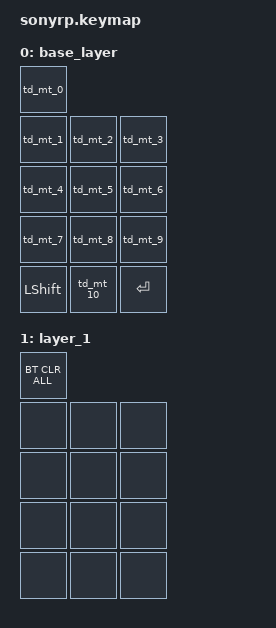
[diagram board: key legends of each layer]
#include <behaviors.dtsi>
#include <dt-bindings/zmk/keys.h>
#include <dt-bindings/zmk/bt.h>

/ {
behaviors {
        td_mt_0: tap_dance_mod_tap_0 {
            compatible = "zmk,behavior-tap-dance";
            #binding-cells = <0>;
            tapping-term-ms = <200>;
            bindings = <&mt BACKSPACE ESC>;
            };  

        td_mt_1: tap_dance_mod_tap_1 {
            compatible = "zmk,behavior-tap-dance";
            #binding-cells = <0>;
            tapping-term-ms = <200>;
            bindings = <&mt N1 N1>, <&mo 1>;
            };

        td_mt_2: tap_dance_mod_tap_2 {
            compatible = "zmk,behavior-tap-dance";
            #binding-cells = <0>;
            tapping-term-ms = <200>;
            bindings = <&mt N2 A>, <&kp B>, <&kp C>, <&kp N2>;
            };

        td_mt_3: tap_dance_mod_tap_3 {
            compatible = "zmk,behavior-tap-dance";
            #binding-cells = <0>;
            tapping-term-ms = <200>;
            bindings = <&mt N3 D>, <&kp E>, <&kp F>, <&kp N3>;
            };

        td_mt_4: tap_dance_mod_tap_4 {
            compatible = "zmk,behavior-tap-dance";
            #binding-cells = <0>;
            tapping-term-ms = <200>;
            bindings = <&mt N4 G>, <&kp H>, <&kp I>, <&kp N4>;
            };

        td_mt_5: tap_dance_mod_tap_5 {
            compatible = "zmk,behavior-tap-dance";
            #binding-cells = <0>;
            tapping-term-ms = <200>;
            bindings = <&mt N5 J>, <&kp K>, <&kp L>, <&kp N5>;
            };

        td_mt_6: tap_dance_mod_tap_6 {
            compatible = "zmk,behavior-tap-dance";
            #binding-cells = <0>;
            tapping-term-ms = <200>;
            bindings = <&mt N6 M>, <&kp N>, <&kp O>, <&kp N6>;
            };

        td_mt_7: tap_dance_mod_tap_7 {
            compatible = "zmk,behavior-tap-dance";
            #binding-cells = <0>;
            tapping-term-ms = <200>;
            bindings = <&mt N7 P>, <&kp Q>, <&kp R>, <&kp S>, <&kp N7>;
            };

        td_mt_8: tap_dance_mod_tap_8 {
            compatible = "zmk,behavior-tap-dance";
            #binding-cells = <0>;
            tapping-term-ms = <200>;
            bindings = <&mt N8 T>, <&kp U>, <&kp V>, <&kp N8>;
            };

        td_mt_9: tap_dance_mod_tap_9 {
            compatible = "zmk,behavior-tap-dance";
            #binding-cells = <0>;
            tapping-term-ms = <200>;
            bindings = <&mt N9 Q>, <&kp X>, <&kp Y>, <&kp Z>, <&kp N9>;
            };

        td_mt_10: tap_dance_mod_tap_10 {
            compatible = "zmk,behavior-tap-dance";
            #binding-cells = <0>;
            tapping-term-ms = <200>;
            bindings = <&mt N0 SPACE>, <&kp N0>;
            };
        };
   
    keymap {
        compatible = "zmk,keymap";
            
        base_layer {
            display-name = "base_layer";
            bindings = < 
                &td_mt_0     
                &td_mt_1          &td_mt_2     &td_mt_3
                &td_mt_4          &td_mt_5     &td_mt_6
                &td_mt_7          &td_mt_8     &td_mt_9
                &kp LSHIFT        &td_mt_10    &kp RET    
            >;
        }; 
        
        layer_1 {
            display-name = "layer_1";
            bindings = <
                &bt BT_CLR_ALL     
                &none    &none    &none
                &none    &none    &none
                &none    &none    &none
                &none    &none    &none
            >;
       };
        
        extra_layer_4 {
            status = "reserved";
        };
        
        extra_layer_5 {
            status = "reserved";
        };

    };
};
